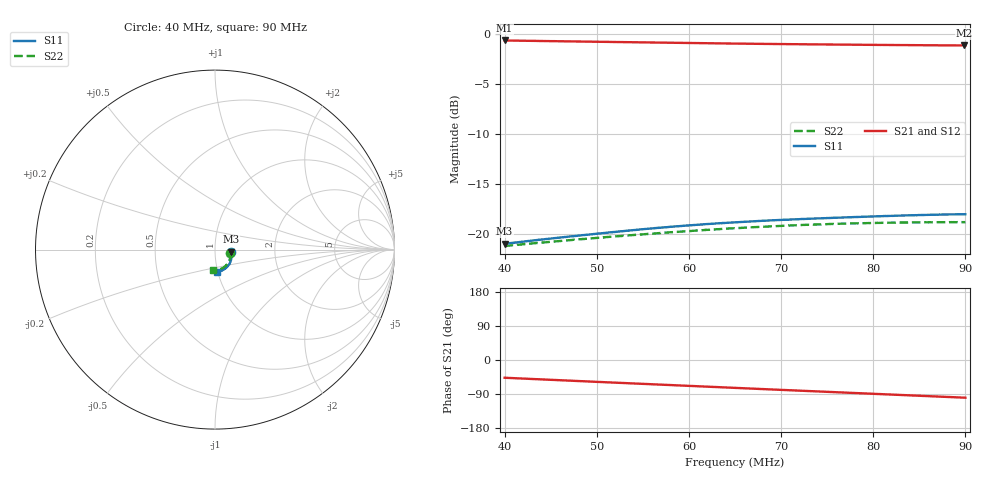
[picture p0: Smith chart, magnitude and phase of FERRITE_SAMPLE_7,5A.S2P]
!Agilent Technologies,E5061B,MY49102235,A.02.00
!Date: Mon Jul 03 10:32:04 2023
!Data & Calibration Information:
!Freq	S11:SOLT2(ON)	S21:SOLT2(ON)	S12:SOLT2(ON)	S22:SOLT2(ON)
# Hz S RI R 50
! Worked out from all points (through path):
!   1600 points, 40 MHz to 90 MHz, reference 50 ohm
!   highest |S21| = -0.63 dB at 40 MHz (marker M1); lowest = -1.1 dB at 89.87 MHz (marker M2)
!   group delay of S21, straight-line fit = 2.92 ns
!   lowest |S11| = -21.0 dB at 40 MHz (marker M3), VSWR 1.20, Z = 59.7 - j1.39 ohm
!   |S11| at or under -10 dB: start of sweep to end of sweep
!   |S22| runs from -21.2 to -18.8 dB; largest |S21 - S12| = 0.0012
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4e7  0.0885 -0.0116  0.6358 -0.6782  0.6358 -0.6772  0.0853 -0.0163
4.062539e7  0.089 -0.0132  0.627 -0.6847  0.6274 -0.6842  0.0856 -0.0181
4.397123e7  0.091 -0.0224  0.5794 -0.7195  0.5798 -0.7191  0.0862 -0.0275
4.619137e7  0.0916 -0.0289  0.5468 -0.7409  0.5473 -0.7403  0.0859 -0.0338
4.834897e7  0.092 -0.0353  0.515 -0.76  0.5154 -0.7593  0.0853 -0.0399
5.053784e7  0.0916 -0.042  0.4817 -0.778  0.482 -0.7775  0.0841 -0.0463
5.269543e7  0.0911 -0.0485  0.4484 -0.7945  0.4486 -0.7939  0.0824 -0.0523
5.482176e7  0.0899 -0.055  0.4153 -0.809  0.4155 -0.8089  0.0803 -0.0584
5.666667e7  0.0885 -0.0606  0.3861 -0.8206  0.3863 -0.8204  0.0782 -0.0635
5.891807e7  0.0862 -0.0673  0.3505 -0.8334  0.3506 -0.8333  0.0751 -0.0699
6.101313e7  0.0837 -0.0733  0.317 -0.8438  0.3174 -0.8437  0.0717 -0.0755
6.501563e7  0.0774 -0.0841  0.2531 -0.8604  0.2531 -0.8599  0.0638 -0.0857
6.898687e7  0.0696 -0.0939  0.1894 -0.8723  0.1894 -0.8717  0.0543 -0.0947
7.148843e7  0.064 -0.0996  0.1492 -0.8779  0.1495 -0.8773  0.0474 -0.0997
7.33646e7  0.0592 -0.1036  0.1188 -0.8808  0.1193 -0.8802  0.042 -0.103
7.746091e7  0.0484 -0.1112  0.0533 -0.8838  0.0535 -0.8834  0.0295 -0.1088
7.974359e7  0.0417 -0.1148  0.0164 -0.8837  0.0172 -0.8832  0.0222 -0.1112
8.16823e7  0.036 -0.1176  -0.0145 -0.8823  -0.0139 -0.882  0.016 -0.1127
8.358974e7  0.0303 -0.1199  -0.0447 -0.88  -0.0442 -0.8798  0.00974 -0.1136
8.612258e7  0.0225 -0.1226  -0.0845 -0.8756  -0.0841 -0.8754  0.00166 -0.1144
8.987492e7  0.0108 -0.1251  -0.1429 -0.8657  -0.1427 -0.8658  -0.0106 -0.1141
9e7  0.0104 -0.1251  -0.1447 -0.8655  -0.1447 -0.8655  -0.011 -0.1141
